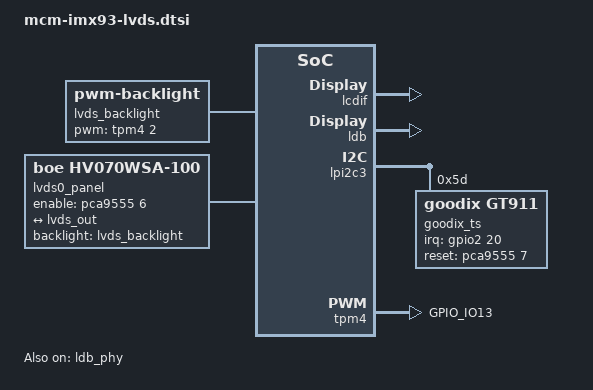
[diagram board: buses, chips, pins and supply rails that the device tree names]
// SPDX-License-Identifier: (GPL-2.0+ OR MIT)
/*
 * Copyright 2022 NXP
 */

#include <dt-bindings/gpio/gpio.h>

/ {
	lvds_backlight: lvds_backlight {
		compatible = "pwm-backlight";
		pwms = <&tpm4 2 50000 0>;
		brightness-levels = <0 0 1 2 3 4 5 6 7 8 9 10 11 12 13 14 15 16 17 18 19 20 21 22 23 24 25 26 27 28 29 30 31 32 33 34 35
					36 37 38 39 40 41 42 43 44 45 46 47 48 49 50 51 52 53 54 55 56 57 58 59 60 61 62 63 64 65 66 67
					68 69 70 71 72 73 74 75 76 77 78 79 80 81 82 83 84 85 86 87 88 89 90 91 92 93 94 95 96 97 98>;
		default-brightness-level = <98>;
		status = "okay";
	};

	lvds0_panel {
		compatible = "boe,hv070wsa-100";
		backlight = <&lvds_backlight>;
		enable-gpios = <&pca9555 6 GPIO_ACTIVE_HIGH>;

		port {
			panel_lvds_in: endpoint {
				remote-endpoint = <&lvds_out>;
			};
		};
	};
};

&dphy {
	status = "disabled";
};

&dsi {
	status = "disabled";
};

&lcdif {
	assigned-clock-rates = <300000000>, <121000000>, <400000000>, <133333333>;
	status = "okay";
};

&ldb {
	status = "okay";

	lvds-channel@0 {
		#address-cells = <1>;
		#size-cells = <0>;
		status = "okay";

		port@1 {
			reg = <1>;

			lvds_out: endpoint {
				remote-endpoint = <&panel_lvds_in>;
			};
		};
	};
};

&ldb_phy {
	status = "okay";
};

&iomuxc {
	touchscreen0_pins: ts0grp {
		fsl,pins = <
			MX93_PAD_GPIO_IO20__GPIO2_IO20		0x31e
		>;
	};
	pinctrl_tpm4: tpm4grp {
		fsl,pins = <
			MX93_PAD_GPIO_IO13__TPM4_CH2	0x59e
		 >;
	};
};

&lpi2c3 {
	#address-cells = <1>;
	#size-cells = <0>;
	goodix_ts: goodix@5d {
		compatible = "goodix,gt911";
		reg = <0x5d>;
		pinctrl-names = "default";
		pinctrl-0 = <&touchscreen0_pins>;
		interrupt-parent = <&gpio2>;
		interrupts = <20 IRQ_TYPE_LEVEL_HIGH>;
		irq-gpios = <&gpio2 20 GPIO_ACTIVE_HIGH>;
		reset-gpios = <&pca9555 7 GPIO_ACTIVE_HIGH>;
		touchscreen-inverted-x;
		touchscreen-inverted-y;
		status = "okay";
	};
};

&tpm4 {
	pinctrl-names = "default";
	pinctrl-0 = <&pinctrl_tpm4>;
	status = "okay";
};
